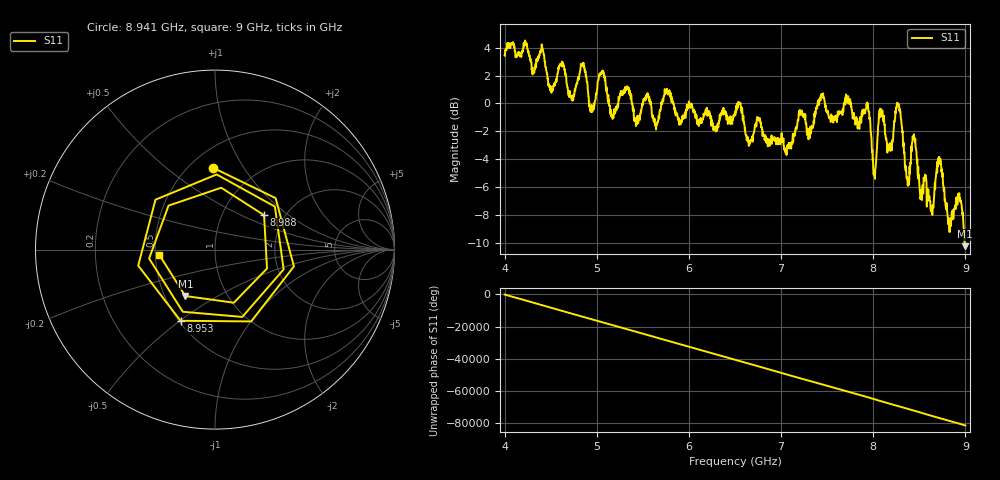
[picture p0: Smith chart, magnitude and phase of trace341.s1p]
! Created with skrf 1.8.0 (http://scikit-rf.org).
# Hz S RI R 50.0
!freq ReS11 ImS11
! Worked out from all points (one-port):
!   1601 points, 4 GHz to 9 GHz, reference 50 ohm
!   lowest |S11| = -10.3 dB at 8.997 GHz (marker M1), VSWR 1.89, Z = 31.8 - j18.1 ohm
!   |S11| at or under -10 dB: 8.990054 GHz to end of sweep
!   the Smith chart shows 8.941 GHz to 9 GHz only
!   S11 on the Smith chart (normalised r, x): 8.941 GHz: 0.64, +0.74; 8.953 GHz: 0.51, -0.50; 8.988 GHz: 1.57, +0.68; 9 GHz: 0.53, -0.03
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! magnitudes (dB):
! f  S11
! 4 GHz  3.4
! 4.506 GHz  0.8
! 4.625 GHz  2.6
! 4.725 GHz  0.4
! 4.853 GHz  2.8
! 4.941 GHz  -0.6
! 5.05 GHz  2.1
! 5.159 GHz  -0.8
! 5.25 GHz  0.5
! 5.875 GHz  -0.9
! 6.5 GHz  -0.6
! 7.125 GHz  -2.6
! 7.75 GHz  0.3
! 7.941 GHz  0.0
! 8.012 GHz  -5.2
! 8.078 GHz  -0.9
! 8.175 GHz  -3.1
! 8.272 GHz  0.0
! 8.375 GHz  -5.9
! 8.444 GHz  -2.4
! 8.628 GHz  -7.8
! 8.712 GHz  -3.9
! 8.825 GHz  -8.7
! 8.941 GHz  -6.8
! 8.953 GHz  -7.1
! 8.988 GHz  -9.5
! 8.997 GHz  -10.3
! 9 GHz  -10.1
